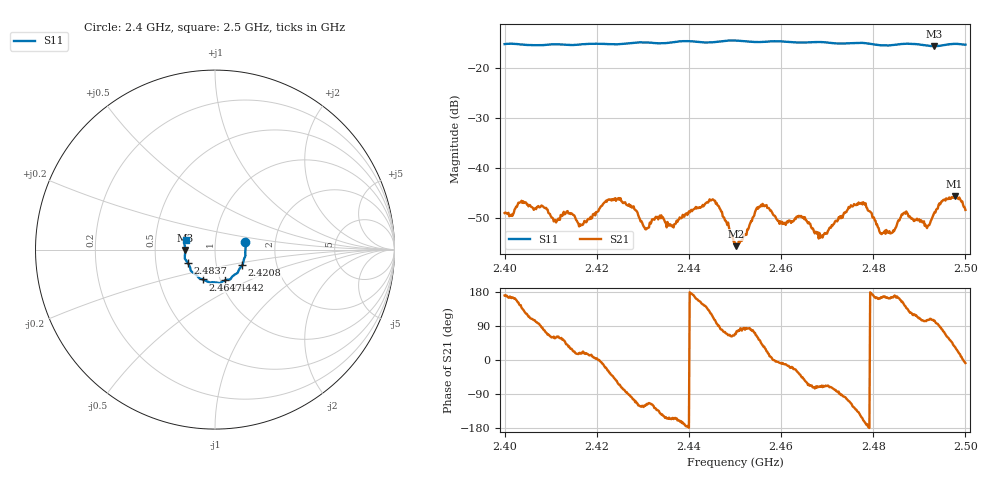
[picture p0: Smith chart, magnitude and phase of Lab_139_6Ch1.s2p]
# Hz S RI R 50
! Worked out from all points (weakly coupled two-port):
!   601 points, 2.4 GHz to 2.5 GHz, reference 50 ohm
!   highest |S21| = -45.65 dB at 2.4977 GHz (marker M1); lowest = -55.6 dB at 2.4502 GHz (marker M2)
!   lowest |S11| = -15.6 dB at 2.4932 GHz (marker M3), VSWR 1.40, Z = 35.8 - j0.106 ohm
!   |S11| at or under -10 dB: start of sweep to end of sweep
!   S12 and S22 are empty: the file has one direction only
!   S11 on the Smith chart (normalised r, x): 2.4 GHz: 1.40, +0.12; 2.4208 GHz: 1.33, -0.24; 2.4442 GHz: 1.05, -0.37; 2.4647 GHz: 0.83, -0.29; 2.4837 GHz: 0.73, -0.11; 2.5 GHz: 0.72, +0.08
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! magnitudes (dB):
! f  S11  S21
! 2.4 GHz  -15.2  -49.0
! 2.4042 GHz  -15.3  -47.0
! 2.4167 GHz  -15.3  -51.3
! 2.4208 GHz  -15.2  -47.7
! 2.4248 GHz  -15.2  -46.0
! 2.4308 GHz  -14.9  -52.0
! 2.4333 GHz  -15.1  -50.3
! 2.4367 GHz  -14.8  -51.9
! 2.4442 GHz  -14.9  -46.9
! 2.45 GHz  -14.5  -54.9
! 2.4502 GHz  -14.5  -55.6
! 2.4557 GHz  -14.8  -47.4
! 2.4647 GHz  -14.9  -49.9
! 2.4667 GHz  -14.8  -52.1
! 2.469 GHz  -14.8  -53.9
! 2.4773 GHz  -15.0  -47.0
! 2.4833 GHz  -15.5  -52.9
! 2.4837 GHz  -15.5  -53.1
! 2.4867 GHz  -15.2  -49.0
! 2.4932 GHz  -15.6  -49.1
! 2.4977 GHz  -15.2  -45.6
! 2.5 GHz  -15.3  -48.4
